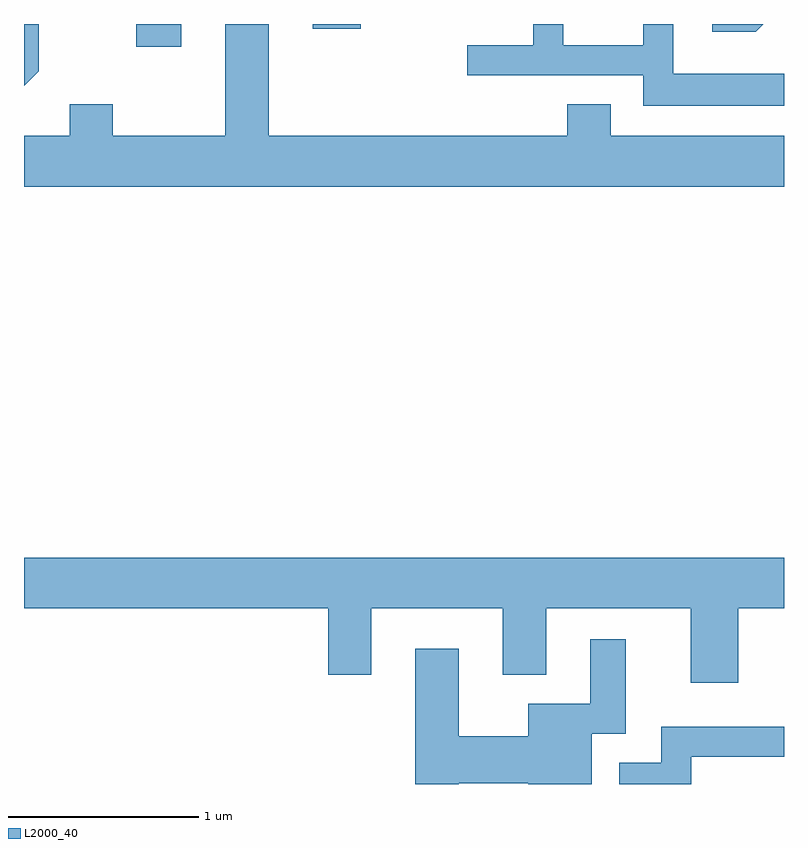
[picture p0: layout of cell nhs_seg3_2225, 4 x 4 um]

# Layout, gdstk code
import gdstk
lib = gdstk.Library(unit=1e-6, precision=1e-09)
def R(c, l, rs):  # rectangles x0, y0, x1, y1
    for r in rs: c.add(gdstk.rectangle(r[:2], r[2:], *l))
def P(c, l, *ps):  # polygons
    for p in ps: c.add(gdstk.Polygon(p, *l))
L2000_40 = (2000, 40)

nhs_seg3_2225 = lib.new_cell('nhs_seg3_2225')
R(nhs_seg3_2225, L2000_40, [(250.203,1217.771,250.439,1217.892), (251.131,1217.866,251.384,1217.892)])
P(nhs_seg3_2225, L2000_40, [(253.611,1217.304),(252.699,1217.304),(252.699,1217.469),(252.471,1217.469),(252.471,1217.304),(250.899,1217.304),(250.899,1217.892),(250.671,1217.892),(250.671,1217.304),(250.079,1217.304),(250.079,1217.469),(249.851,1217.469),(249.851,1217.304),(249.611,1217.304),(249.611,1217.036),(253.611,1217.036)],
  [(253.503,1217.892),(253.233,1217.892),(253.233,1217.851),(253.462,1217.851)],
  [(249.689,1217.644),(249.689,1217.892),(249.611,1217.892),(249.611,1217.566)],
  [(253.611,1217.629),(253.029,1217.629),(253.029,1217.892),(252.871,1217.892),(252.871,1217.779),(252.449,1217.779),(252.449,1217.892),(252.291,1217.892),(252.291,1217.779),(251.943,1217.779),(251.943,1217.621),(252.871,1217.621),(252.871,1217.461),(253.611,1217.461)],
  [(253.369,1214.816),(253.611,1214.816),(253.611,1215.084),(249.611,1215.084),(249.611,1214.816),(251.211,1214.816),(251.211,1214.466),(251.439,1214.466),(251.439,1214.816),(252.131,1214.816),(252.131,1214.466),(252.359,1214.466),(252.359,1214.816),(253.121,1214.816),(253.121,1214.426),(253.369,1214.426)],
  [(251.899,1213.896),(252.266,1213.896),(252.266,1213.892),(252.599,1213.892),(252.599,1214.156),(252.779,1214.156),(252.779,1214.654),(252.591,1214.654),(252.591,1214.314),(252.266,1214.314),(252.266,1214.144),(251.899,1214.144),(251.899,1214.604),(251.671,1214.604),(251.671,1213.892),(251.899,1213.892)],
  [(253.124,1214.036),(253.611,1214.036),(253.611,1214.194),(252.966,1214.194),(252.966,1214.004),(252.743,1214.004),(252.743,1213.892),(253.124,1213.892)])

lib.write_gds('nhs_seg3_2225.gds')
